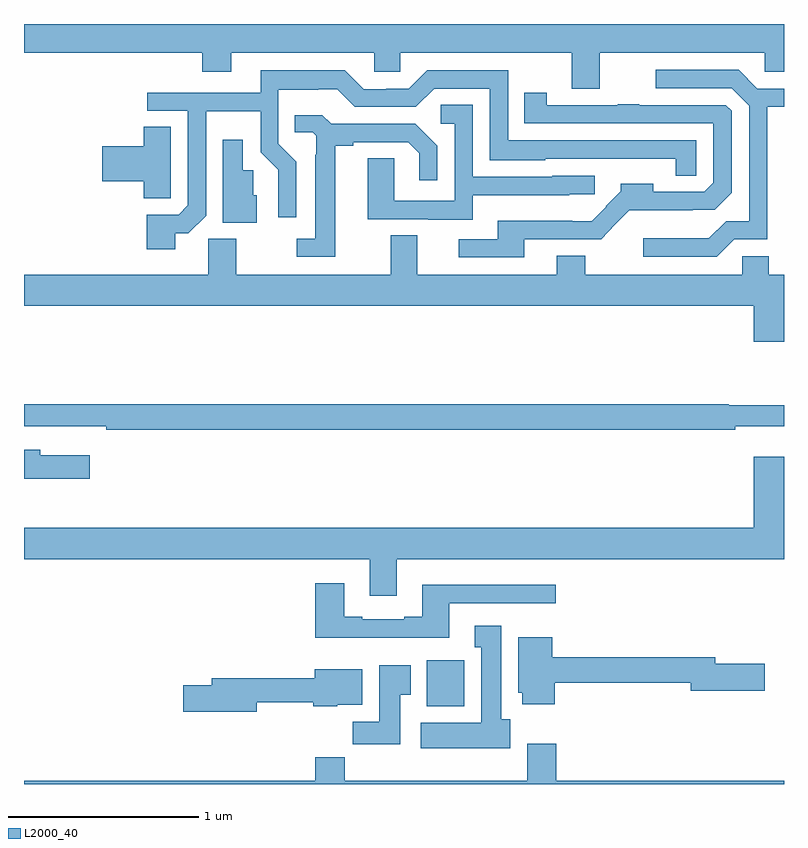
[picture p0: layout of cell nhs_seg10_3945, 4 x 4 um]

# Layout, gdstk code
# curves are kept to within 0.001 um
import gdstk
lib = gdstk.Library(unit=1e-6, precision=1e-09)
def R(c, l, rs):  # rectangles x0, y0, x1, y1
    for r in rs: c.add(gdstk.rectangle(r[:2], r[2:], *l))
def P(c, l, *ps):  # polygons
    for p in ps: c.add(gdstk.Polygon(p, *l))
L2000_40 = (2000, 40)

nhs_seg10_3945 = lib.new_cell('nhs_seg10_3945')
R(nhs_seg10_3945, L2000_40, [(331.121,1264.91,331.318,1265.152)])
P(nhs_seg10_3945, L2000_40, [(332.029,1268.348),(332.898,1268.348),(332.898,1268.25),(333,1268.25),(333,1268.5),(329,1268.5),(329,1268.348),(329.939,1268.348),(329.939,1268.249),(330.091,1268.249),(330.091,1268.348),(330.843,1268.348),(330.843,1268.25),(330.981,1268.25),(330.981,1268.348),(331.882,1268.348),(331.882,1268.158),(332.029,1268.158)],
  [(332.739,1267.368),(332.913,1267.368),(332.913,1268.064),(333,1268.064),(333,1268.16),(332.86,1268.16),(332.761,1268.259),(332.325,1268.259),(332.325,1268.163),(332.724,1268.163),(332.817,1268.07),(332.817,1267.463),(332.696,1267.463),(332.605,1267.372),(332.259,1267.372),(332.259,1267.275),(332.646,1267.275)],
  [(329.797,1267.399),(329.865,1267.399),(329.958,1267.491),(329.958,1268.042),(330.246,1268.042),(330.246,1267.826),(330.338,1267.734),(330.338,1267.482),(330.432,1267.482),(330.432,1267.776),(330.339,1267.869),(330.339,1268.153),(330.548,1268.153),(330.548,1268.157),(330.648,1268.157),(330.741,1268.064),(331.062,1268.064),(331.158,1268.16),(331.452,1268.16),(331.452,1267.784),(331.743,1267.784),(331.743,1267.791),(332.43,1267.79),(332.43,1267.702),(332.538,1267.702),(332.538,1267.887),(331.548,1267.887),(331.548,1268.256),(331.122,1268.256),(331.026,1268.16),(330.906,1268.16),(330.906,1268.157),(330.789,1268.157),(330.689,1268.257),(330.245,1268.257),(330.245,1268.139),(329.649,1268.139),(329.649,1268.043),(329.862,1268.043),(329.862,1267.545),(329.814,1267.497),(329.645,1267.497),(329.645,1267.314),(329.797,1267.314)],
  [(331.633,1267.368),(332.037,1267.368),(332.113,1267.445),(332.111,1267.447),(332.185,1267.521),(332.519,1267.52),(332.519,1267.522),(332.635,1267.522),(332.724,1267.611),(332.724,1268.043),(332.694,1268.073),(332.237,1268.073),(332.237,1268.078),(332.125,1268.078),(332.125,1268.073),(331.752,1268.073),(331.752,1268.137),(331.633,1268.137),(331.633,1267.977),(332.628,1267.977),(332.628,1267.665),(332.58,1267.617),(332.311,1267.617),(332.311,1267.66),(332.14,1267.66),(332.14,1267.621),(332.061,1267.542),(332.064,1267.539),(331.988,1267.463),(331.886,1267.463),(331.886,1267.465),(331.493,1267.465),(331.493,1267.368),(331.287,1267.368),(331.287,1267.272),(331.633,1267.272)],
  [(331.363,1267.598),(331.869,1267.598),(331.869,1267.605),(332.004,1267.605),(332.004,1267.701),(331.779,1267.701),(331.779,1267.695),(331.362,1267.695),(331.362,1268.075),(331.194,1268.075),(331.194,1267.974),(331.266,1267.974),(331.266,1267.569),(330.948,1267.569),(330.948,1267.793),(330.809,1267.793),(330.809,1267.473),(331.127,1267.473),(331.127,1267.469),(331.363,1267.469)],
  [(330.637,1267.858),(330.733,1267.858),(330.733,1267.878),(331.022,1267.878),(331.079,1267.821),(331.079,1267.677),(331.176,1267.677),(331.176,1267.858),(331.06,1267.974),(330.618,1267.974),(330.57,1268.021),(330.424,1268.021),(330.424,1267.929),(330.519,1267.929),(330.537,1267.911),(330.537,1267.811),(330.533,1267.811),(330.533,1267.371),(330.435,1267.371),(330.435,1267.275),(330.637,1267.275)],
  [(329.772,1267.69),(329.773,1267.69),(329.773,1267.958),(329.63,1267.958),(329.63,1267.856),(329.412,1267.856),(329.412,1267.673),(329.63,1267.673),(329.63,1267.582),(329.772,1267.582)],
  [(330.226,1267.599),(330.207,1267.599),(330.207,1267.731),(330.151,1267.731),(330.151,1267.891),(330.047,1267.891),(330.047,1267.454),(330.226,1267.454)],
  [(333,1267.18),(332.92,1267.18),(332.92,1267.278),(332.781,1267.278),(332.781,1267.18),(331.953,1267.18),(331.953,1267.279),(331.805,1267.279),(331.805,1267.18),(331.069,1267.18),(331.069,1267.388),(330.929,1267.388),(330.929,1267.18),(330.117,1267.18),(330.117,1267.369),(329.97,1267.369),(329.97,1267.18),(329,1267.18),(329,1267.016),(332.84,1267.016),(332.84,1266.828),(333,1266.828)],
  [(332.744,1266.383),(333,1266.383),(333,1266.493),(332.71,1266.493),(332.71,1266.5),(329,1266.5),(329,1266.384),(329.182,1266.384),(329.182,1266.383),(329.434,1266.383),(329.434,1266.364),(332.744,1266.364)],
  [(329.347,1266.229),(329.086,1266.229),(329.086,1266.258),(329,1266.258),(329,1266.107),(329.347,1266.107)],
  [(330.961,1265.684),(333,1265.684),(333,1266.223),(332.84,1266.223),(332.84,1265.848),(329,1265.848),(329,1265.684),(330.821,1265.684),(330.821,1265.49),(330.961,1265.49)],
  [(331.237,1265.451),(331.798,1265.451),(331.798,1265.548),(331.097,1265.548),(331.097,1265.38),(331.001,1265.38),(331.001,1265.367),(330.781,1265.367),(330.781,1265.38),(330.685,1265.38),(330.685,1265.557),(330.533,1265.557),(330.533,1265.27),(331.237,1265.27)],
  [(331.558,1264.842),(331.513,1264.842),(331.513,1265.332),(331.373,1265.332),(331.373,1265.219),(331.406,1265.219),(331.406,1264.822),(331.089,1264.822),(331.089,1264.688),(331.558,1264.688)],
  [(331.793,1265.032),(332.51,1265.032),(332.51,1264.99),(332.899,1264.99),(332.899,1265.132),(332.638,1265.132),(332.638,1265.168),(331.78,1265.168),(331.78,1265.272),(331.601,1265.272),(331.601,1264.98),(331.622,1264.98),(331.622,1264.92),(331.793,1264.92)],
  [(330.979,1264.969),(331.036,1264.969),(331.036,1265.125),(330.869,1265.125),(330.869,1264.828),(330.73,1264.828),(330.73,1264.71),(330.979,1264.71)],
  [(330.226,1264.929),(330.523,1264.929),(330.523,1264.91),(330.648,1264.91),(330.648,1264.916),(330.781,1264.916),(330.781,1265.104),(330.53,1265.104),(330.53,1265.057),(329.987,1265.057),(329.987,1265.021),(329.838,1265.021),(329.838,1264.879),(330.226,1264.879)],
  [(333,1264.516),(331.802,1264.516),(331.802,1264.711),(331.649,1264.711),(331.649,1264.516),(330.689,1264.516),(330.689,1264.64),(330.533,1264.64),(330.533,1264.516),(329,1264.516),(329,1264.5),(333,1264.5)])

lib.write_gds('nhs_seg10_3945.gds')
